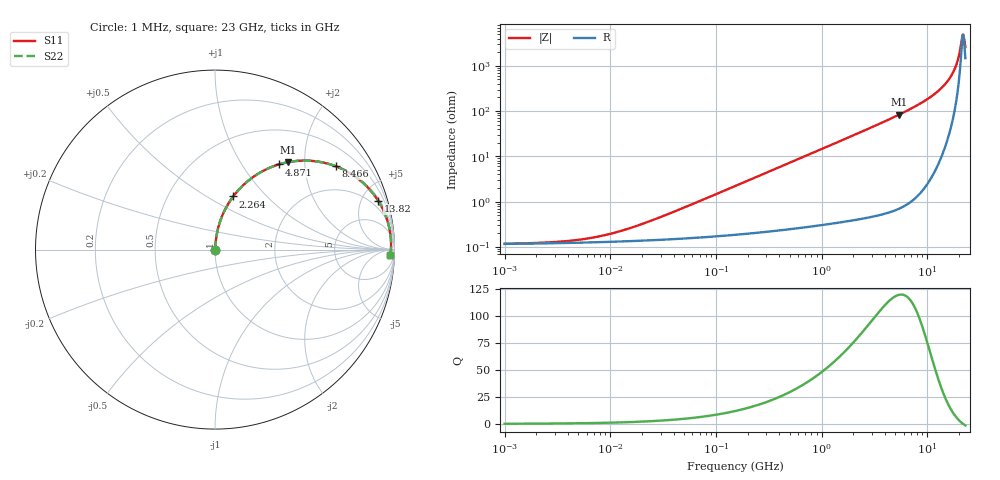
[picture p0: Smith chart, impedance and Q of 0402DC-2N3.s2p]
# MHz  S  MA  R  50
!Freq  MagS11  AngS11  MagS21  AngS21  MagS12  AngS12  MagS22  AngS22
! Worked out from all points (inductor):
!   801 points, 1 MHz to 23 GHz, reference 50 ohm
!   read as one part in series: L = 2.3 nH near 29.71 MHz
!   highest Q = 120 at 5.386 GHz (marker M1), where L = 2.45 nH
!   self-resonance near 21.72 GHz
!   S11 on the Smith chart (normalised r, x): 1 MHz: 1.00, +0.00; 2.264 GHz: 1.01, +0.66; 4.871 GHz: 1.01, +1.48; 8.466 GHz: 1.03, +2.88; 13.82 GHz: 1.21, +6.65; 23 GHz: 31, -43
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1  0.001168 7.1  0.9988 -0.0  0.9988 -0.0  0.001168 7.1
2.697436  0.001259 18.0  0.9988 -0.0  0.9988 -0.0  0.001259 18.0
5.382456  0.001462 32.1  0.9988 -0.0  0.9988 -0.0  0.001462 32.1
11.72723  0.002137 52.3  0.9987 -0.1  0.9987 -0.1  0.002137 52.3
28.60921  0.004366 70.8  0.9986 -0.2  0.9986 -0.2  0.004366 70.8
152.0657  0.02201 83.9  0.9979 -1.3  0.9979 -1.3  0.02201 83.9
818.4871  0.1173 81.9  0.9903 -6.7  0.9903 -6.7  0.1173 81.9
2263.983  0.3129 71.1  0.946 -18.2  0.946 -18.2  0.3129 71.1
3178.047  0.4231 64.4  0.9018 -25.0  0.9018 -25.0  0.4231 64.4
4350.481  0.5456 56.4  0.8333 -33.1  0.8333 -33.1  0.5456 56.4
4871.166  0.5929 53.2  0.8003 -36.4  0.8003 -36.4  0.5929 53.2
5386.09  0.6355 50.1  0.7668 -39.5  0.7668 -39.5  0.6355 50.1
8465.574  0.8174 34.6  0.5678 -54.8  0.5678 -54.8  0.8174 34.6
11160.1  0.9034 24.5  0.414 -64.6  0.414 -64.6  0.9034 24.5
13816.7  0.9494 16.6  0.2855 -71.6  0.2855 -71.6  0.9494 16.6
16064.43  0.97 11.1  0.1924 -75.5  0.1924 -75.5  0.97 11.1
17987.1  0.9787 7.0  0.1224 -76.5  0.1224 -76.5  0.9787 7.0
19395.08  0.9814 4.3  0.07631 -73.8  0.07631 -73.8  0.9814 4.3
20913.27  0.9815 1.6  0.03317 -55.4  0.03317 -55.4  0.9815 1.6
21445.3  0.981 0.7  0.02252 -32.3  0.02252 -32.3  0.981 0.7
22268.83  0.9797 -0.6  0.02304 28.0  0.02304 28.0  0.9797 -0.6
23000  0.9781 -1.8  0.03764 53.5  0.03764 53.5  0.9781 -1.8
